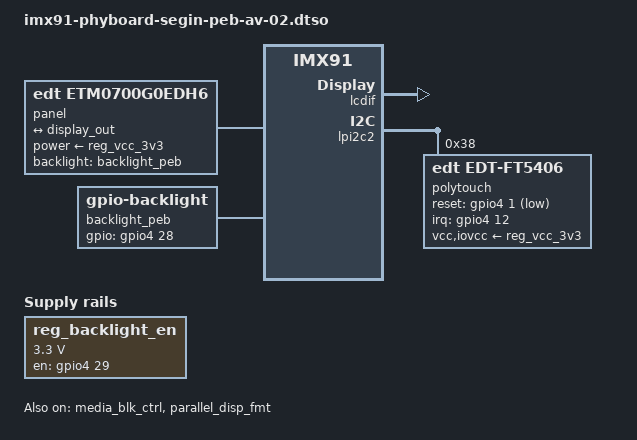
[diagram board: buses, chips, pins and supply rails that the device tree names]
// SPDX-License-Identifier: GPL-2.0
/*
 * Copyright (C) 2025 PHYTEC Messtechnik GmbH
 * Author: Christoph Stoidner <c.stoidner@phytec.de>
 */

#include <dt-bindings/gpio/gpio.h>
#include <dt-bindings/interrupt-controller/arm-gic.h>
#include "imx91-pinfunc.h"

/dts-v1/;
/plugin/;

/ {
	compatible = "phytec,imx91-phyboard-segin";
};

&{/} {
	panel {
		compatible = "edt,etm0700g0edh6";
		backlight = <&backlight_peb>;
		power-supply = <&reg_vcc_3v3>;

		port {
			panel_in: endpoint {
				remote-endpoint = <&display_out>;
			};
		};
	};

	backlight_peb: backlight {
		compatible = "gpio-backlight";
		pinctrl-names = "default";
		pinctrl-0 = <&pinctrl_backlight>;
		gpios = <&gpio4 28 GPIO_ACTIVE_HIGH>;
		default-on;
	};

	reg_backlight_en: regulator-backlight-en {
		compatible = "regulator-fixed";
		pinctrl-names = "default";
		pinctrl-0 = <&pinctrl_backlight_en>;
		regulator-name = "Backlight";
		regulator-min-microvolt = <3300000>;
		regulator-max-microvolt = <3300000>;
		gpio = <&gpio4 29 GPIO_ACTIVE_HIGH>;
		enable-active-high;
		regulator-always-on;
	};
};

&lcdif {
	status = "okay";
	assigned-clock-rates = <150000000>, <30000000>, <400000000>, <133333333>;
};

&media_blk_ctrl {
	status = "okay";
};

&parallel_disp_fmt {
	pinctrl-names = "default";
	pinctrl-0 = <&pinctrl_lcdif>;
	fsl,interface-pix-fmt = "rgb666";
	status = "okay";

	ports {
		#address-cells = <1>;
		#size-cells = <0>;

		port@1 {
			reg = <1>;

			display_out: endpoint {
				remote-endpoint = <&panel_in>;
			};
		};
	};
};

&lpi2c2 {
	#address-cells = <1>;
	#size-cells = <0>;

	polytouch: edt-ft5x06@38 {
		compatible = "edt,edt-ft5406";
		reg = <0x38>;
		pinctrl-names = "default";
		pinctrl-0 = <&pinctrl_edt_ft5x06>;
		interrupt-parent = <&gpio4>;
		interrupts = <12 IRQ_TYPE_EDGE_FALLING>;
		reset-gpios = <&gpio4 1 GPIO_ACTIVE_LOW>;
		touchscreen-size-x = <1792>;
		touchscreen-size-y = <1024>;
		vcc-supply = <&reg_vcc_3v3>;
		iovcc-supply = <&reg_vcc_3v3>;
		wakeup-source;
		status = "okay";
	};
};

&iomuxc {
	pinctrl_backlight: backlightgrp {
		fsl,pins = <
			MX91_PAD_CCM_CLKO3__GPIO4_IO28 0x1133e
		>;
	};

	pinctrl_backlight_en: backlightengrp {
		fsl,pins = <
			MX91_PAD_CCM_CLKO4__GPIO4_IO29 0x1133e
		>;
	};

	pinctrl_edt_ft5x06: edtft5x06grp {
		fsl,pins = <
			MX91_PAD_ENET1_MDIO__GPIO4_IO1 0x11e
			MX91_PAD_ENET1_RD2__GPIO4_IO12 0x1133e
		>;
	};

	pinctrl_lcdif: lcdifgrp {
		fsl,pins = <
			MX91_PAD_GPIO_IO00__MEDIAMIX_DISP_CLK		0x50e
			MX91_PAD_GPIO_IO01__MEDIAMIX_DISP_DE		0x50e
			MX91_PAD_GPIO_IO02__MEDIAMIX_DISP_VSYNC		0x50e
			MX91_PAD_GPIO_IO03__MEDIAMIX_DISP_HSYNC		0x50e
			MX91_PAD_GPIO_IO04__MEDIAMIX_DISP_DATA0		0x50e
			MX91_PAD_GPIO_IO05__MEDIAMIX_DISP_DATA1		0x50e
			MX91_PAD_GPIO_IO06__MEDIAMIX_DISP_DATA2		0x50e
			MX91_PAD_GPIO_IO07__MEDIAMIX_DISP_DATA3		0x50e
			MX91_PAD_GPIO_IO08__MEDIAMIX_DISP_DATA4		0x50e
			MX91_PAD_GPIO_IO09__MEDIAMIX_DISP_DATA5		0x51e
			MX91_PAD_GPIO_IO10__MEDIAMIX_DISP_DATA6		0x50e
			MX91_PAD_GPIO_IO11__MEDIAMIX_DISP_DATA7		0x50e
			MX91_PAD_GPIO_IO12__MEDIAMIX_DISP_DATA8		0x50e
			MX91_PAD_GPIO_IO13__MEDIAMIX_DISP_DATA9		0x50e
			MX91_PAD_GPIO_IO14__MEDIAMIX_DISP_DATA10	0x50e
			MX91_PAD_GPIO_IO15__MEDIAMIX_DISP_DATA11	0x50e
			MX91_PAD_GPIO_IO16__MEDIAMIX_DISP_DATA12	0x506
			MX91_PAD_GPIO_IO17__MEDIAMIX_DISP_DATA13	0x506
			MX91_PAD_GPIO_IO18__MEDIAMIX_DISP_DATA14	0x506
			MX91_PAD_GPIO_IO19__MEDIAMIX_DISP_DATA15	0x506
			MX91_PAD_GPIO_IO20__MEDIAMIX_DISP_DATA16	0x506
			MX91_PAD_GPIO_IO21__MEDIAMIX_DISP_DATA17	0x506
		>;
	};
};
